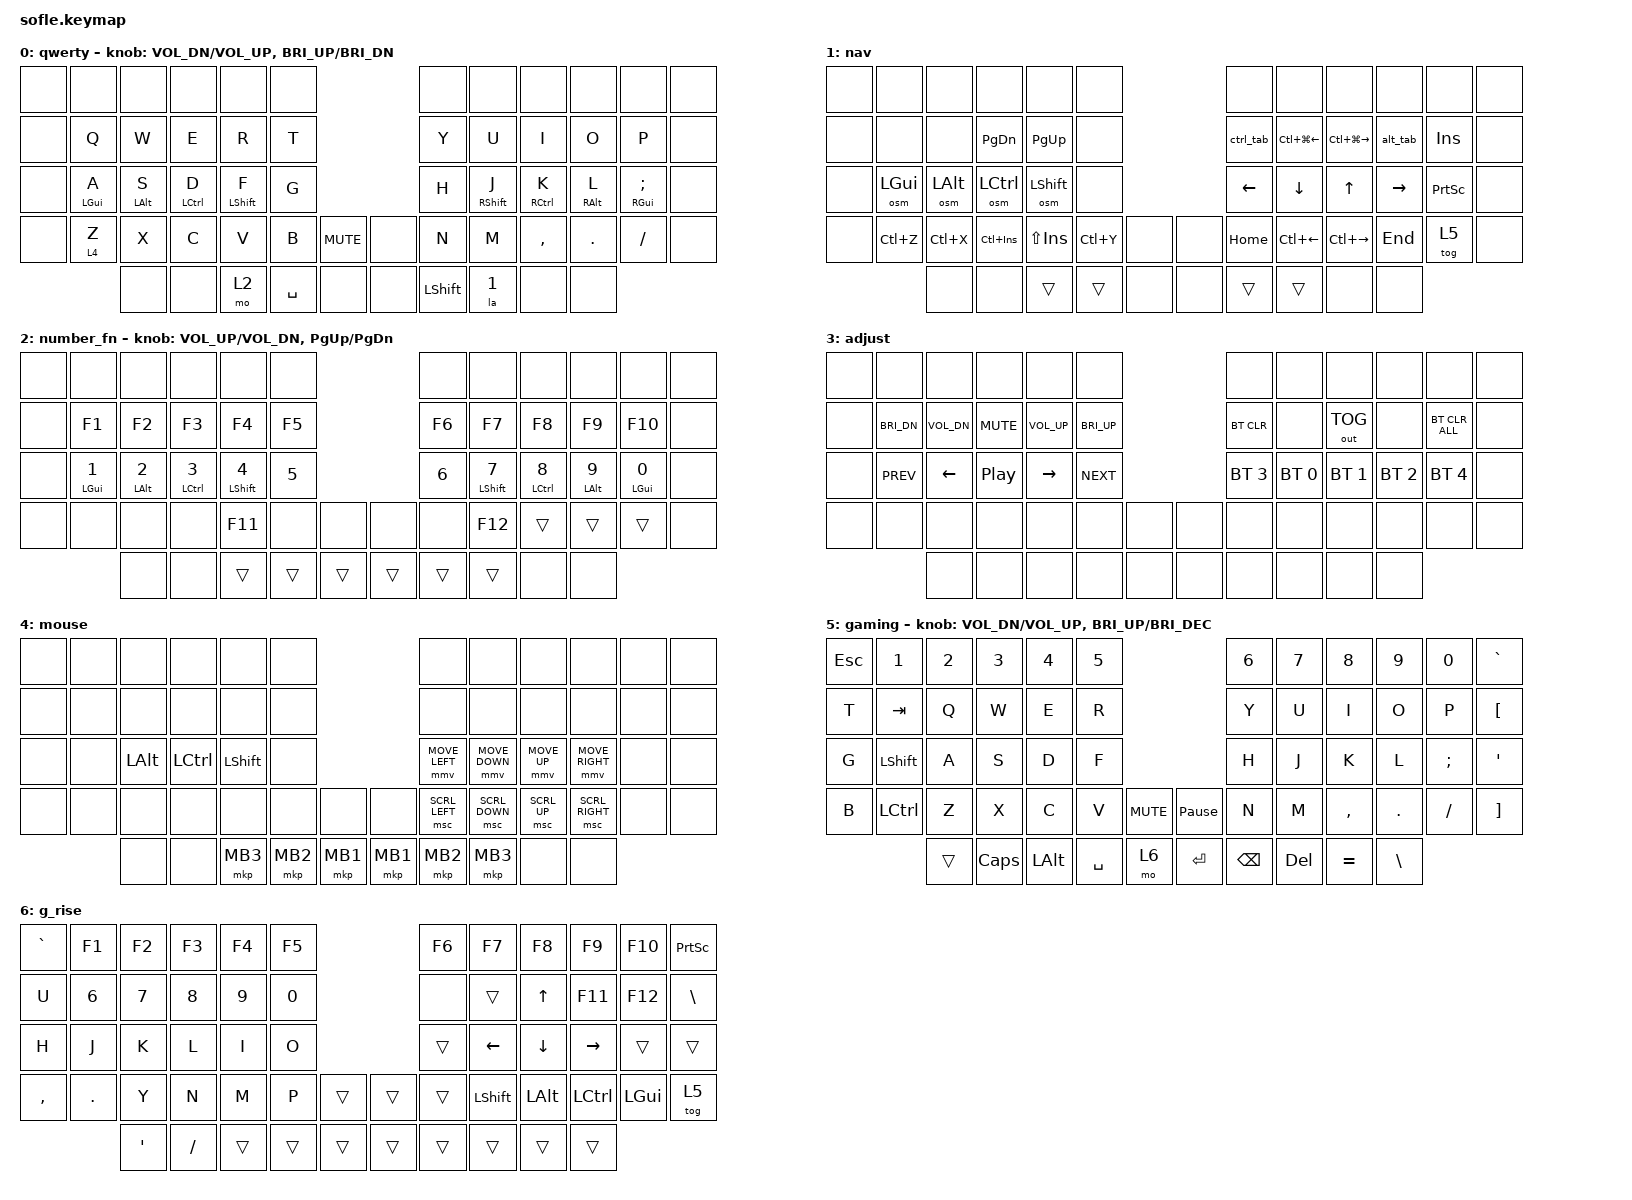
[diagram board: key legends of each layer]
/*
 * Copyright (c) 2020 The ZMK Contributors
 *
 * SPDX-License-Identifier: MIT
 */

#define ZMK_MOUSE_DEFAULT_MOVE_VAL 1500  // 600
#define ZMK_MOUSE_DEFAULT_SCRL_VAL 100    // 10

#include <behaviors.dtsi>
#include <dt-bindings/zmk/bt.h>
#include <dt-bindings/zmk/keys.h>
#include <dt-bindings/zmk/outputs.h>
#include <dt-bindings/zmk/pointing.h>

// Config from @caksoylar, defaults in comments

&mmv {
    acceleration-exponent = <1>;      // 1
    time-to-max-speed-ms = <500>;     // 300
    delay-ms = <0>;                   // 0
};

&msc {
    acceleration-exponent = <1>;      // 0
    time-to-max-speed-ms = <40>;      // 300
    delay-ms = <0>;                   // 0
};

#define BASE 0
#define LOWER 1
#define RAISE 2
#define ADJUST 3

/ {
    // Activate ADJUST layer by pressing raise and lower

    conditional_layers {
        compatible = "zmk,conditional-layers";

        adjust_layer {
            if-layers = <1 2>;
            then-layer = <3>;
        };

        adjust_layer2 {
            if-layers = <1 2>;
            then-layer = <3>;
        };
    };

    combos {
        compatible = "zmk,combos";

        c_capswords {
            bindings = <&caps_word>;
            key-positions = <53 56>;
            layers = <0>;
        };

        c_esc {
            bindings = <&kp ESC>;
            key-positions = <14 15>;
            layers = <0 1 2>;
        };

        c_del_bspc {
            bindings = <&bsp_del>;
            key-positions = <20 19>;
            layers = <0 1 2>;
        };

        c_rbkt {
            bindings = <&kp RBKT>;
            key-positions = <30 31>;
            layers = <0 2>;
        };

        c_lbkt {
            bindings = <&kp LBKT>;
            key-positions = <28 29>;
            layers = <0 2>;
        };

        c_sqt {
            bindings = <&kp SQT>;
            key-positions = <19 18>;
            layers = <0 2>;
        };

        c_grave {
            bindings = <&kp GRAVE>;
            key-positions = <16 17>;
            layers = <0 2>;
        };

        c_enter {
            bindings = <&kp RET>;
            key-positions = <16 15>;
            layers = <0 1 2>;
        };

        c_tab {
            bindings = <&kp TAB>;
            key-positions = <20 21>;
            layers = <0 1 2>;
        };

        c_tg_mouse {
            bindings = <&tog 4>;
            key-positions = <37 48>;
            layers = <0 4>;
        };

        c_lpar {
            bindings = <&kp LPAR>;
            key-positions = <28 27>;
            layers = <0 2>;
        };

        c_rpar {
            bindings = <&kp RPAR>;
            key-positions = <31 32>;
            layers = <0 2>;
        };

        c_lbrc {
            bindings = <&kp LBRC>;
            key-positions = <40 41>;
            layers = <0 2>;
        };

        c_rbrc {
            bindings = <&kp RBRC>;
            key-positions = <44 45>;
            layers = <0 2>;
        };

        c_caret {
            bindings = <&kp CARET>;
            key-positions = <17 29>;
            layers = <0 2>;
        };

        c_dllr {
            bindings = <&kp DLLR>;
            key-positions = <18 30>;
            layers = <0 2>;
        };

        c_excl {
            bindings = <&kp EXCL>;
            key-positions = <16 28>;
            layers = <0 2>;
        };

        c_qmark {
            bindings = <&kp QMARK>;
            key-positions = <19 31>;
            layers = <0 2>;
        };

        c_under {
            bindings = <&kp UNDER>;
            key-positions = <40 39>;
            layers = <0 2>;
        };

        c_minus {
            bindings = <&kp MINUS>;
            key-positions = <45 46>;
            layers = <0 2>;
        };

        c_amps {
            bindings = <&kp AMPS>;
            key-positions = <15 27>;
            layers = <0 2>;
        };

        c_pipe {
            bindings = <&kp PIPE>;
            key-positions = <20 32>;
            layers = <0 2>;
        };

        c_equal {
            bindings = <&kp EQUAL>;
            key-positions = <15 28>;
            layers = <0 2>;
        };

        c_plus {
            bindings = <&kp PLUS>;
            key-positions = <20 31>;
            layers = <0 2>;
        };

        c_fslh {
            bindings = <&kp FSLH>;
            key-positions = <27 16>;
            layers = <0 2>;
        };

        c_bslh {
            bindings = <&kp BSLH>;
            key-positions = <19 32>;
            layers = <0 2>;
        };

        c_lt {
            bindings = <&kp LT>;
            key-positions = <27 40>;
            layers = <0 2>;
        };

        c_gt {
            bindings = <&kp GT>;
            key-positions = <32 45>;
            layers = <0 2>;
        };

        c_prcnt {
            bindings = <&kp PRCNT>;
            key-positions = <16 29>;
            layers = <0 2>;
        };

        c_star {
            bindings = <&kp STAR>;
            key-positions = <19 30>;
            layers = <0 2>;
        };

        c_hash {
            bindings = <&kp HASH>;
            key-positions = <39 38>;
            layers = <0 2>;
        };

        c_at {
            bindings = <&kp AT>;
            key-positions = <46 47>;
            layers = <0 2>;
        };
    };

    macros {
        meta_spc: meta_spc {
            compatible = "zmk,behavior-macro";
            #binding-cells = <0>;
            bindings =
                <&macro_press>,
                <&kp LMETA>,
                <&macro_tap>,
                <&kp SPACE>,
                <&macro_wait_time 50>,
                <&macro_release>,
                <&kp LMETA>;

            label = "META_SPC";
        };

        alt_shift: alt_shift {
            compatible = "zmk,behavior-macro";
            #binding-cells = <0>;
            bindings =
                <&macro_press>,
                <&kp LSHFT>,
                <&macro_tap>,
                <&kp LALT>,
                <&macro_wait_time 50>,
                <&macro_release>,
                <&kp LSHFT>;

            label = "ALT_SHIFT";
        };

        m_hold_mod_press_key: m_hold_mod_press_key {
            compatible = "zmk,behavior-macro-two-param";
            #binding-cells = <2>;
            bindings =
                <&macro_press>,
                <&macro_param_1to1 &kp MACRO_PLACEHOLDER>,
                <&macro_tap>,
                <&macro_param_2to1 &kp MACRO_PLACEHOLDER>;

            label = "M_HOLD_MOD_PRESS_KEY";
        };

        la: la {
            compatible = "zmk,behavior-macro-one-param";
            #binding-cells = <1>;
            bindings =
                <&macro_tap>,
                <&kp 0>,
                <&macro_press>,
                <&macro_param_1to1 &mo MACRO_PLACEHOLDER>,
                <&macro_pause_for_release>,
                <&macro_release>,
                <&macro_param_1to1 &mo MACRO_PLACEHOLDER &kp LCTRL &kp LSHFT &kp LALT &kp LWIN>;

            label = "LA";
        };
    };

    behaviors {
        hrm: hrm {
            compatible = "zmk,behavior-hold-tap";
            label = "HRM";
            bindings = <&kp>, <&kp>;

            #binding-cells = <2>;
            tapping-term-ms = <175>;
            quick-tap-ms = <150>;
            flavor = "balanced";
            require-prior-idle-ms = <125>;
        };

        hrl: hrl {
            compatible = "zmk,behavior-hold-tap";
            label = "HRL";
            bindings = <&mo>, <&kp>;

            #binding-cells = <2>;
            tapping-term-ms = <200>;
            quick-tap-ms = <175>;
            flavor = "balanced";
            require-prior-idle-ms = <150>;
        };

        osm: osm {
            compatible = "zmk,behavior-sticky-key";
            label = "OSM";
            bindings = <&kp>;
            #binding-cells = <1>;
            release-after-ms = <1000>;
            quick-release;
            ignore-modifiers;
        };

        bsp_del: bsp_del {
            compatible = "zmk,behavior-mod-morph";
            label = "BSP_DEL";
            bindings = <&kp BSPC>, <&kp DEL>;

            #binding-cells = <0>;
            mods = <(MOD_LSFT|MOD_RSFT)>;
        };

        ctrl_tab: ctrl_tab {
            compatible = "zmk,behavior-mod-morph";
            label = "CTRL_TAB";
            bindings = <&m_hold_mod_press_key LCTRL TAB>, <&kp TAB>;

            #binding-cells = <0>;
            mods = <(MOD_LCTL)>;
            keep-mods = <(MOD_LCTL)>;
        };

        alt_tab: alt_tab {
            compatible = "zmk,behavior-mod-morph";
            label = "ALT_TAB";
            bindings = <&m_hold_mod_press_key LALT TAB>, <&kp TAB>;

            #binding-cells = <0>;
            mods = <(MOD_LALT)>;
            keep-mods = <(MOD_LALT)>;
        };

        hml: hml {
            compatible = "zmk,behavior-hold-tap";
            label = "home mod left";
            bindings = <&kp>, <&kp>;

            #binding-cells = <2>;
            tapping-term-ms = <200>;
            quick-tap-ms = <165>;
            require-prior-idle-ms = <110>;
            flavor = "balanced";
            hold-trigger-key-positions = <55 56 57 44 45 58 59 43 46 47 49 35 23 11 10 22 34 33 21 9 8 20 32 31 19 7 48 30 18 6>;
            hold-trigger-on-release;
        };

        hmr: hmr {
            compatible = "zmk,behavior-hold-tap";
            label = "home mod right";
            bindings = <&kp>, <&kp>;

            #binding-cells = <2>;
            tapping-term-ms = <200>;
            quick-tap-ms = <165>;
            require-prior-idle-ms = <110>;
            flavor = "balanced";
            hold-trigger-on-release;
            hold-trigger-key-positions = <1 0 2 3 4 5 17 29 41 42 54 53 52 51 50 37 36 12 24 25 13 14 15 16 28 40 39 27 26 38>;
        };
    };

    keymap {
        compatible = "zmk,keymap";

        qwerty {
            display-name = "qwerty";

            // ------------------------------------------------------------------------------------------------------------
            // |   `   |  1  |  2  |  3   |  4   |  5   |                   |  6   |  7    |  8    |  9   |   0   |       |
            // |  ESC  |  Q  |  W  |  E   |  R   |  T   |                   |  Y   |  U    |  I    |  O   |   P   | BKSPC |
            // |  TAB  |  A  |  S  |  D   |  F   |  G   |                   |  H   |  J    |  K    |  L   |   ;   |   '   |
            // | SHIFT |  Z  |  X  |  C   |  V   |  B   |  MUTE  |  |       |  N   |  M    |  ,    |  .   |   /   | SHIFT |
            //               | GUI | ALT  | CTRL | LOWER|  ENTER |  | SPACE | RAISE| CTRL  | ALT   | GUI  |

            bindings = <
&none  &none        &none        &none         &none         &none                           &none      &none         &none         &none        &none           &none
&none  &kp Q        &kp W        &kp E         &kp R         &kp T                           &kp Y      &kp U         &kp I         &kp O        &kp P           &none
&none  &hml LGUI A  &hml LALT S  &hml LCTRL D  &hml LSHFT F  &kp G                           &kp H      &hmr RSHFT J  &hmr RCTRL K  &hmr RALT L  &hmr RGUI SEMI  &none
&none  &lt 4 Z      &kp X        &kp C         &kp V         &kp B      &kp C_MUTE    &none  &kp N      &kp M         &kp COMMA     &kp DOT      &kp FSLH        &none
                    &none        &none         &mo 2         &kp SPACE  &none         &none  &kp LSHFT  &la 1         &none         &none
            >;

            sensor-bindings =
                <&inc_dec_kp C_VOL_DN C_VOL_UP>,
                <&inc_dec_kp C_BRI_UP C_BRI_DN>;

            label = "qwerty";
        };

        nav {
            display-name = "nav";
            bindings = <
&none  &none      &none      &none        &none        &none                      &none      &none             &none              &none      &none      &none
&none  &none      &none      &kp PG_DN    &kp PG_UP    &none                      &ctrl_tab  &kp LC(LG(LEFT))  &kp LC(LG(RIGHT))  &alt_tab   &kp INS    &none
&none  &osm LGUI  &osm LALT  &osm LCTRL   &osm LSHFT   &none                      &kp LEFT   &kp DOWN          &kp UP             &kp RIGHT  &kp PSCRN  &none
&none  &kp LC(Z)  &kp LC(X)  &kp LC(INS)  &kp LS(INS)  &kp LC(Y)  &none    &none  &kp HOME   &kp LC(LEFT)      &kp LC(RIGHT)      &kp END    &tog 5     &none
                  &none      &none        &trans       &trans     &none    &none  &trans     &trans            &none              &none
            >;

            label = "navigation";
        };

        number_fn {
            display-name = "number_fn";
            bindings = <
&none  &none         &none         &none          &none          &none                     &none   &none          &none          &none         &none         &none
&none  &kp F1        &kp F2        &kp F3         &kp F4         &kp F5                    &kp F6  &kp F7         &kp F8         &kp F9        &kp F10       &none
&none  &hrm LGUI N1  &hrm LALT N2  &hrm LCTRL N3  &hrm LSHFT N4  &kp N5                    &kp N6  &hrm LSHFT N7  &hrm LCTRL N8  &hrm LALT N9  &hrm LGUI N0  &none
&none  &none         &none         &none          &kp F11        &none   &none     &none   &none   &kp F12        &trans         &trans        &trans        &none
                     &none         &none          &trans         &trans  &trans    &trans  &trans  &trans         &none          &none
            >;

            sensor-bindings = <&inc_dec_kp C_VOL_UP C_VOL_DN &inc_dec_kp PG_UP PG_DN>;
            label = "number_fn";
        };

        adjust_layer {
            // ----------------------------------------------------------------------------------------------------------------------------
            // | BTCLR  |  BT1    |  BT2    |   BT3   |   BT4   |   BT5   |                  |      |      |       |      |       |       |
            // | EXTPWR | RGB_HUD | RGB_HUI | RGB_SAD | RGB_SAI | RGB_EFF |                  |      |      |       |      |       |       |
            // |        | RGB_BRD | RGB_BRI |         |         |         |                  |      |      |       |      |       |       |
            // |        |         |         |         |         |         | RGB_TOG | |      |      |      |       |      |       |       |
            //                    |         |         |         |         |         | |      |      |      |       |      |

            display-name = "adjust";
            bindings = <
&none  &none         &none         &none       &none         &none                         &none         &none         &none         &none         &none           &none
&none  &kp C_BRI_DN  &kp C_VOL_DN  &kp C_MUTE  &kp C_VOL_UP  &kp C_BRI_UP                  &bt BT_CLR    &none         &out OUT_TOG  &none         &bt BT_CLR_ALL  &none
&none  &kp C_PREV    &kp LEFT      &kp C_PP    &kp RIGHT     &kp C_NEXT                    &bt BT_SEL 3  &bt BT_SEL 0  &bt BT_SEL 1  &bt BT_SEL 2  &bt BT_SEL 4    &none
&none  &none         &none         &none       &none         &none         &none    &none  &none         &none         &none         &none         &none           &none
                     &none         &none       &none         &none         &none    &none  &none         &none         &none         &none
            >;
        };

        mouse {
            display-name = "mouse";
            bindings = <
&none  &none  &none     &none      &none      &none                           &none           &none           &none         &none            &none  &none
&none  &none  &none     &none      &none      &none                           &none           &none           &none         &none            &none  &none
&none  &none  &kp LALT  &kp LCTRL  &kp LSHFT  &none                           &mmv MOVE_LEFT  &mmv MOVE_DOWN  &mmv MOVE_UP  &mmv MOVE_RIGHT  &none  &none
&none  &none  &none     &none      &none      &none     &none       &none     &msc SCRL_LEFT  &msc SCRL_DOWN  &msc SCRL_UP  &msc SCRL_RIGHT  &none  &none
              &none     &none      &mkp MB3   &mkp MB2  &mkp MB1    &mkp MB1  &mkp MB2        &mkp MB3        &none         &none
            >;

            label = "mouse";
        };

        gaming_base {
            display-name = "gaming";
            bindings = <
&kp ESC  &kp N1     &kp N2  &kp N3    &kp N4    &kp N5                                    &kp N6    &kp N7   &kp N8     &kp N9    &kp N0    &kp GRAVE
&kp T    &kp TAB    &kp Q   &kp W     &kp E     &kp R                                     &kp Y     &kp U    &kp I      &kp O     &kp P     &kp LBKT
&kp G    &kp LSHFT  &kp A   &kp S     &kp D     &kp F                                     &kp H     &kp J    &kp K      &kp L     &kp SEMI  &kp APOS
&kp B    &kp LCTRL  &kp Z   &kp X     &kp C     &kp V      &kp C_MUTE    &kp PAUSE_BREAK  &kp N     &kp M    &kp COMMA  &kp DOT   &kp FSLH  &kp RBKT
                    &trans  &kp CAPS  &kp LALT  &kp SPACE  &mo 6         &kp ENTER        &kp BSPC  &kp DEL  &kp EQUAL  &kp BSLH
            >;

            label = "gaming";
            sensor-bindings =
                <&inc_dec_kp C_VOL_DN C_VOL_UP>,
                <&inc_dec_kp C_BRI_UP C_BRI_DEC>;
        };

        gaming_rise {
            display-name = "g_rise";
            bindings = <
&kp GRAVE  &kp F1   &kp F2    &kp F3    &kp F4  &kp F5                    &kp F6  &kp F7     &kp F8    &kp F9     &kp F10   &kp PSCRN
&kp U      &kp N6   &kp N7    &kp N8    &kp N9  &kp N0                    &none   &trans     &kp UP    &kp F11    &kp F12   &kp BSLH
&kp H      &kp J    &kp K     &kp L     &kp I   &kp O                     &trans  &kp LEFT   &kp DOWN  &kp RIGHT  &trans    &trans
&kp COMMA  &kp DOT  &kp Y     &kp N     &kp M   &kp P   &trans    &trans  &trans  &kp LSHFT  &kp LALT  &kp LCTRL  &kp LGUI  &tog 5
                    &kp APOS  &kp FSLH  &trans  &trans  &trans    &trans  &trans  &trans     &trans    &trans
            >;

            label = "g_rise";
        };
    };
};
